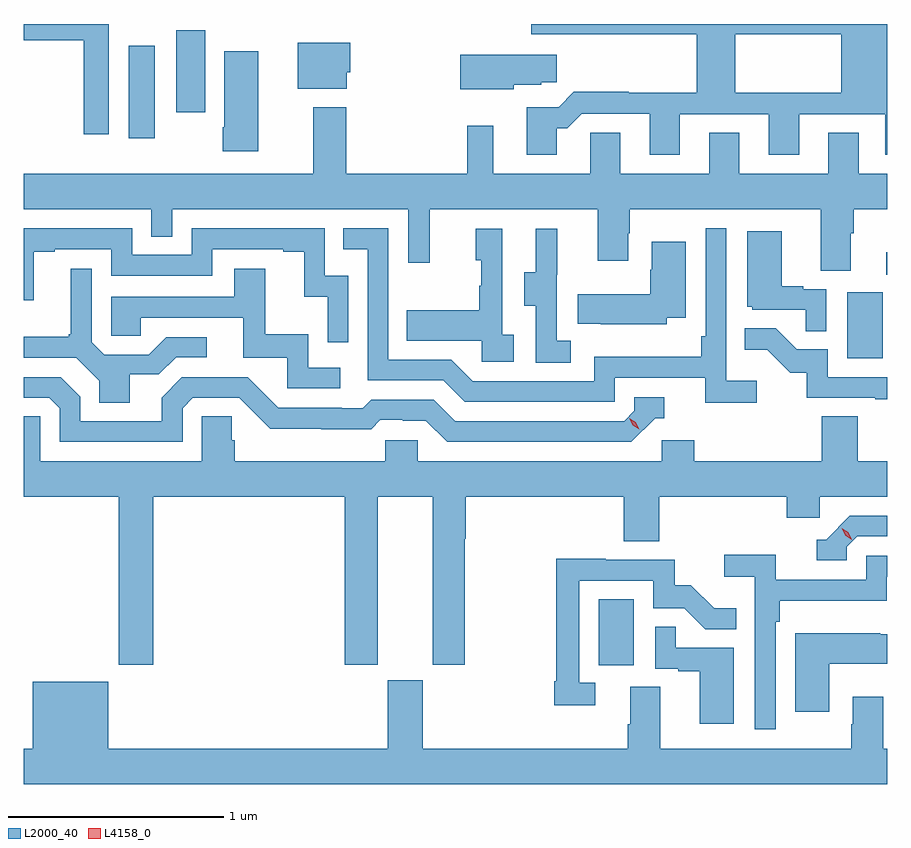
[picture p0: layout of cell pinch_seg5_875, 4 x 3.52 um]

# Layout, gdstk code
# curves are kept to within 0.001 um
import gdstk
lib = gdstk.Library(unit=1e-6, precision=1e-09)
def R(c, l, rs):  # rectangles x0, y0, x1, y1
    for r in rs: c.add(gdstk.rectangle(r[:2], r[2:], *l))
def P(c, l, *ps):  # polygons
    for p in ps: c.add(gdstk.Polygon(p, *l))
L2000_40 = (2000, 40)
L4158_0 = (4158, 0)

pinch_seg5_875 = lib.new_cell('pinch_seg5_875')
R(pinch_seg5_875, L2000_40, [(879.494,875.958,879.658,876.265), (880.646,877.38,880.81,877.687), (880.827,877.767,880.831,877.873), (877.316,878.4,877.438,878.83), (877.538,878.52,877.672,878.9)])
P(pinch_seg5_875, L2000_40, [(877.224,878.93),(876.831,878.93),(876.831,878.855),(877.108,878.855),(877.108,878.418),(877.224,878.418)],
  [(879.635,878.615),(879.38,878.615),(879.309,878.544),(879.161,878.544),(879.161,878.325),(879.301,878.325),(879.301,878.447),(879.35,878.447),(879.417,878.514),(879.731,878.514),(879.731,878.325),(879.871,878.325),(879.871,878.511),(880.283,878.511),(880.283,878.325),(880.423,878.325),(880.423,878.511),(880.823,878.511),(880.823,878.325),(880.831,878.325),(880.831,878.93),(879.182,878.93),(879.182,878.882),(879.95,878.882),(879.95,878.612),(880.128,878.612),(880.128,878.882),(880.619,878.882),(880.619,878.612),(879.635,878.612)],
  [(878.326,878.706),(878.344,878.706),(878.344,878.842),(878.099,878.842),(878.099,878.63),(878.326,878.63)],
  [(877.918,878.803),(877.76,878.803),(877.76,878.452),(877.753,878.452),(877.753,878.34),(877.918,878.34)],
  [(879.102,878.648),(879.228,878.648),(879.228,878.659),(879.301,878.659),(879.301,878.788),(878.852,878.788),(878.852,878.627),(879.102,878.627)],
  [(880.663,877.96),(880.676,877.96),(880.676,878.072),(880.831,878.072),(880.831,878.236),(880.699,878.236),(880.699,878.426),(880.559,878.426),(880.559,878.236),(880.147,878.236),(880.147,878.426),(880.007,878.426),(880.007,878.236),(879.595,878.236),(879.595,878.426),(879.456,878.426),(879.456,878.236),(879.007,878.236),(879.007,878.458),(878.886,878.458),(878.886,878.236),(878.324,878.236),(878.324,878.545),(878.171,878.545),(878.171,878.236),(876.831,878.236),(876.831,878.072),(877.422,878.072),(877.422,877.945),(877.518,877.945),(877.518,878.072),(878.613,878.072),(878.613,877.824),(878.711,877.824),(878.711,878.072),(879.491,878.072),(879.491,877.833),(879.631,877.833),(879.631,877.961),(879.639,877.961),(879.639,878.072),(880.523,878.072),(880.523,877.786),(880.663,877.786)],
  [(880.228,877.276),(880.086,877.276),(880.086,877.984),(879.99,877.984),(879.99,877.483),(879.97,877.483),(879.97,877.387),(879.474,877.387),(879.474,877.275),(878.91,877.275),(878.811,877.374),(878.52,877.374),(878.52,877.983),(878.311,877.983),(878.311,877.887),(878.424,877.887),(878.424,877.278),(878.774,877.278),(878.873,877.179),(879.57,877.179),(879.57,877.29),(879.989,877.29),(879.989,877.174),(880.228,877.174)],
  [(878.334,877.764),(878.226,877.764),(878.226,877.983),(877.608,877.983),(877.608,877.86),(877.332,877.86),(877.332,877.983),(876.831,877.983),(876.831,877.649),(876.877,877.649),(876.877,877.875),(876.973,877.875),(876.973,877.887),(877.236,877.887),(877.236,877.764),(877.704,877.764),(877.704,877.887),(878.033,877.887),(878.033,877.875),(878.129,877.875),(878.129,877.667),(878.238,877.667),(878.238,877.455),(878.334,877.455)],
  [(879.364,877.463),(879.3,877.463),(879.3,877.767),(879.302,877.767),(879.302,877.981),(879.203,877.981),(879.203,877.779),(879.149,877.779),(879.149,877.624),(879.204,877.624),(879.204,877.36),(879.364,877.36)],
  [(879.1,877.49),(879.048,877.49),(879.048,877.981),(878.924,877.981),(878.924,877.836),(878.95,877.836),(878.95,877.718),(878.94,877.718),(878.94,877.603),(878.605,877.603),(878.605,877.463),(878.952,877.463),(878.952,877.365),(879.1,877.365)],
  [(880.548,877.701),(880.442,877.701),(880.442,877.714),(880.342,877.714),(880.342,877.969),(880.184,877.969),(880.184,877.62),(880.206,877.62),(880.206,877.605),(880.453,877.605),(880.453,877.507),(880.548,877.507)],
  [(879.811,877.568),(879.898,877.568),(879.898,877.921),(879.74,877.921),(879.74,877.791),(879.733,877.791),(879.733,877.678),(879.397,877.678),(879.397,877.541),(879.505,877.541),(879.505,877.538),(879.811,877.538)],
  [(878.296,877.338),(878.148,877.338),(878.148,877.492),(877.949,877.492),(877.949,877.795),(877.805,877.795),(877.805,877.665),(877.236,877.665),(877.236,877.485),(877.373,877.485),(877.373,877.569),(877.847,877.569),(877.847,877.383),(878.052,877.383),(878.052,877.242),(878.296,877.242)],
  [(877.321,877.306),(877.456,877.306),(877.536,877.386),(877.678,877.386),(877.678,877.479),(877.49,877.479),(877.409,877.398),(877.203,877.398),(877.146,877.455),(877.146,877.795),(877.049,877.795),(877.049,877.492),(877.038,877.492),(877.038,877.48),(876.831,877.48),(876.831,877.383),(877.074,877.383),(877.181,877.276),(877.181,877.174),(877.321,877.174)],
  [(880.831,877.293),(880.557,877.293),(880.557,877.422),(880.413,877.422),(880.315,877.52),(880.171,877.52),(880.171,877.421),(880.275,877.421),(880.382,877.314),(880.459,877.314),(880.459,877.197),(880.777,877.197),(880.777,877.192),(880.831,877.192)],
  [(877.566,877.149),(877.614,877.197),(877.83,877.197),(877.972,877.055),(878.208,877.055),(878.208,877.053),(878.441,877.053),(878.483,877.095),(878.586,877.095),(878.586,877.092),(878.693,877.092),(878.792,876.993),(879.645,876.993),(879.756,877.104),(879.799,877.104),(879.799,877.2),(879.66,877.2),(879.66,877.137),(879.612,877.089),(878.829,877.089),(878.73,877.188),(878.441,877.188),(878.402,877.149),(878.303,877.149),(878.303,877.152),(878.01,877.152),(877.869,877.293),(877.563,877.293),(877.469,877.199),(877.469,877.089),(877.092,877.089),(877.092,877.203),(877.002,877.293),(876.831,877.293),(876.831,877.197),(876.948,877.197),(876.996,877.149),(876.996,876.993),(877.566,876.993)],
  [(877.43,876.74),(878.318,876.74),(878.318,875.961),(878.47,875.961),(878.47,876.74),(878.726,876.74),(878.726,875.961),(878.874,875.961),(878.874,876.544),(878.879,876.544),(878.879,876.74),(879.611,876.74),(879.611,876.532),(879.776,876.532),(879.776,876.74),(880.367,876.74),(880.367,876.642),(880.518,876.642),(880.518,876.74),(880.831,876.74),(880.831,876.904),(880.694,876.904),(880.694,877.112),(880.529,877.112),(880.529,876.904),(879.938,876.904),(879.938,877.002),(879.786,877.002),(879.786,876.904),(878.655,876.904),(878.655,877.002),(878.505,877.002),(878.505,876.904),(877.808,876.904),(877.808,877.002),(877.793,877.002),(877.793,877.112),(877.656,877.112),(877.656,876.904),(876.906,876.904),(876.906,877.112),(876.831,877.112),(876.831,876.74),(877.27,876.74),(877.27,875.961),(877.43,875.961)],
  [(880.644,876.507),(880.692,876.555),(880.831,876.555),(880.831,876.651),(880.659,876.651),(880.548,876.54),(880.505,876.54),(880.505,876.444),(880.644,876.444)],
  [(880.314,876.161),(880.334,876.161),(880.334,876.257),(880.83,876.257),(880.83,876.369),(880.831,876.369),(880.831,876.465),(880.734,876.465),(880.734,876.354),(880.316,876.354),(880.316,876.47),(880.077,876.47),(880.077,876.368),(880.218,876.368),(880.218,875.661),(880.314,875.661)],
  [(879.478,875.877),(879.405,875.877),(879.405,876.351),(879.747,876.351),(879.747,876.222),(879.891,876.222),(879.989,876.124),(880.133,876.124),(880.133,876.223),(880.029,876.223),(879.922,876.33),(879.846,876.33),(879.846,876.447),(879.527,876.447),(879.527,876.452),(879.297,876.452),(879.297,875.884),(879.289,875.884),(879.289,875.772),(879.478,875.772)],
  [(880.12,876.039),(879.851,876.039),(879.851,876.137),(879.756,876.137),(879.756,875.943),(879.863,875.943),(879.863,875.931),(879.962,875.931),(879.962,875.688),(880.12,875.688)],
  [(880.564,875.966),(880.831,875.966),(880.831,876.103),(880.799,876.103),(880.799,876.106),(880.406,876.106),(880.406,875.742),(880.564,875.742)],
  [(880.831,875.572),(880.813,875.572),(880.813,875.812),(880.673,875.812),(880.673,875.684),(880.666,875.684),(880.666,875.572),(879.781,875.572),(879.781,875.858),(879.641,875.858),(879.641,875.684),(879.629,875.684),(879.629,875.572),(878.68,875.572),(878.68,875.889),(878.516,875.889),(878.516,875.572),(877.222,875.572),(877.222,875.881),(876.872,875.881),(876.872,875.572),(876.831,875.572),(876.831,875.408),(880.831,875.408)])
P(pinch_seg5_875, L4158_0, [(880.667,876.541),(880.637,876.56),(880.621,876.593),(880.621,876.593),(880.621,876.593),(880.652,876.574),(880.667,876.541),(880.667,876.541)],
  [(879.683,877.051),(879.652,877.07),(879.636,877.102),(879.636,877.103),(879.637,877.103),(879.667,877.084),(879.683,877.052),(879.683,877.051)])

lib.write_gds('pinch_seg5_875.gds')
